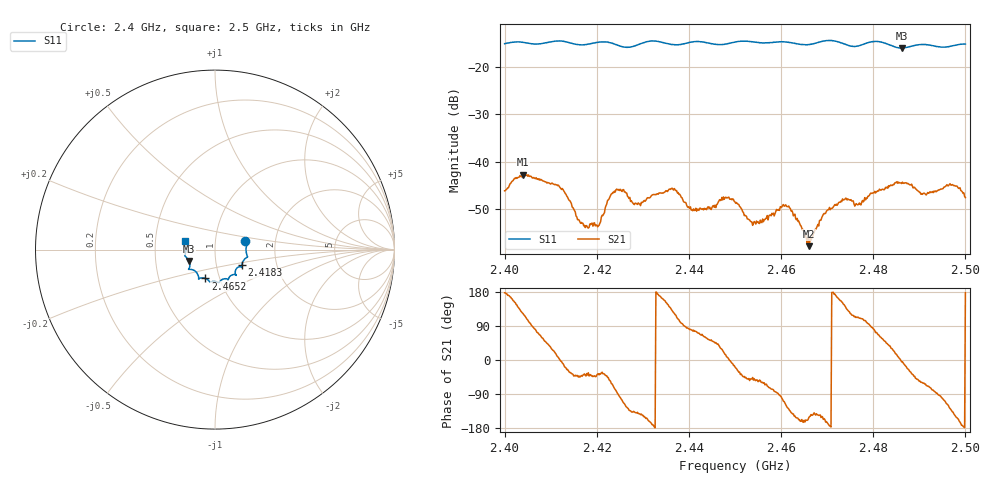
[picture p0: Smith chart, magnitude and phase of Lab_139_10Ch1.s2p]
# Hz S RI R 50
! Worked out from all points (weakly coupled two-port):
!   601 points, 2.4 GHz to 2.5 GHz, reference 50 ohm
!   highest |S21| = -42.69 dB at 2.404 GHz (marker M1); lowest = -57.8 dB at 2.466 GHz (marker M2)
!   lowest |S11| = -16.1 dB at 2.4862 GHz (marker M3), VSWR 1.37, Z = 37.2 - j4.86 ohm
!   |S11| at or under -10 dB: start of sweep to end of sweep
!   S12 and S22 are empty: the file has one direction only
!   S11 on the Smith chart (normalised r, x): 2.4 GHz: 1.40, +0.13; 2.4183 GHz: 1.33, -0.24; 2.4652 GHz: 0.85, -0.28; 2.5 GHz: 0.71, +0.07
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2.4e9  0.1682 0.0463  -0.00494 0.000222  0 0  0 0
2.404e9  0.1784 0.0271  -0.00394 0.00619  0 0  0 0
2.412167e9  0.1812 -0.0415  0.00525 -0.000278  0 0  0 0
2.416667e9  0.1551 -0.0679  0.00174 -0.00151  0 0  0 0
2.418333e9  0.1499 -0.0866  0.00151 -0.00137  0 0  0 0
2.420333e9  0.1508 -0.0995  0.0017 -0.00125  0 0  0 0
2.424333e9  0.1401 -0.0952  0.000507 -0.00513  0 0  0 0
2.428333e9  0.1131 -0.1213  -0.00275 -0.00243  0 0  0 0
2.433333e9  0.1174 -0.1416  -0.00452 0.000551  0 0  0 0
2.436833e9  0.0924 -0.1425  -0.00284 0.00439  0 0  0 0
2.441167e9  0.0744 -0.1675  0.00076 0.00298  0 0  0 0
2.45e9  0.0258 -0.1797  0.00358 -0.00119  0 0  0 0
2.454e9  0.0143 -0.1812  0.00136 -0.00181  0 0  0 0
2.461333e9  -0.0303 -0.1785  -0.00195 -0.00275  0 0  0 0
2.465167e9  -0.0543 -0.161  -0.00167 -0.000491  0 0  0 0
2.466e9  -0.0634 -0.1582  -0.00115 -0.000598  0 0  0 0
2.466667e9  -0.0708 -0.1575  -0.00132 -0.000889  0 0  0 0
2.473e9  -0.0913 -0.1527  -0.00353 0.00156  0 0  0 0
2.477e9  -0.1213 -0.1136  -0.00128 0.00346  0 0  0 0
2.483333e9  -0.1411 -0.0968  0.00431 0.00358  0 0  0 0
2.486167e9  -0.1432 -0.0637  0.00588 -0.000503  0 0  0 0
2.5e9  -0.1661 0.0474  -0.00419 0.000174  0 0  0 0
